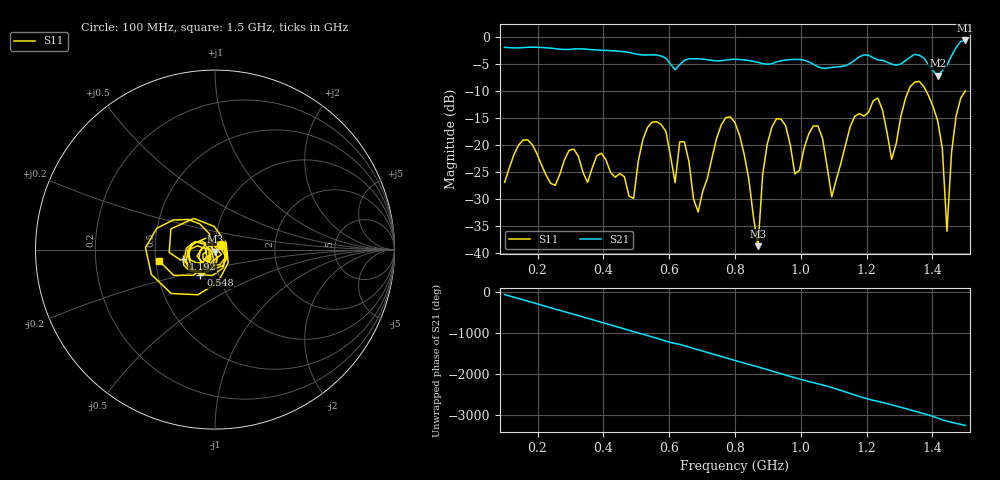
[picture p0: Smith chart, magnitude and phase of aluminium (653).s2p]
! NanoVNA-App
! Date: 2025-09-25 15:00:21
! Start: 100MHz Stop: 1,5GHz Points: 101
! S-Parameter data: F S11 S21 S12 S22
# Hz S RI R 50
!  Frequency  S11_Real  S11_Imag  S21_Real  S21_Imag  S12_Real  S12_Imag  S22_Real  S22_Imag
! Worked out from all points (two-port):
!   101 points, 100 MHz to 1.5 GHz, reference 50 ohm
!   highest |S21| = -0.65 dB at 1.5 GHz (marker M1); lowest = -7.2 dB at 1.416 GHz (marker M2)
!   |S21| within 3 dB of the highest: start of sweep to 580 MHz; 1.457 GHz to end of sweep (the widest 2 of 4)
!   lowest |S11| = -38.8 dB at 870 MHz (marker M3), VSWR 1.02, Z = 50.2 - j1.13 ohm
!   |S11| at or under -10 dB: start of sweep to 1.327 GHz; 1.381 GHz to 1.5 GHz (119.4 MHz wide, 8.29 % of centre)
!   S12 and S22 are empty: the file has one direction only
!   S11 on the Smith chart (normalised r, x): 100 MHz: 1.07, +0.06; 548 MHz: 0.82, -0.24; 1.192 GHz: 0.70, -0.08; 1.5 GHz: 0.52, -0.07
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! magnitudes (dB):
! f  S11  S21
! 100 MHz  -27.0  -1.9
! 156 MHz  -19.1  -2.0
! 338 MHz  -25.1  -2.2
! 492 MHz  -29.9  -3.1
! 548 MHz  -15.8  -3.3
! 576 MHz  -16.3  -3.5
! 646 MHz  -19.4  -4.3
! 688 MHz  -32.5  -4.1
! 800 MHz  -15.9  -4.1
! 870 MHz  -38.8  -4.7
! 912 MHz  -16.7  -5.0
! 982 MHz  -25.4  -4.2
! 1.038 GHz  -16.5  -5.0
! 1.094 GHz  -29.7  -5.6
! 1.192 GHz  -14.7  -3.3
! 1.234 GHz  -11.3  -4.3
! 1.276 GHz  -22.7  -5.0
! 1.346 GHz  -8.4  -3.2
! 1.416 GHz  -15.6  -7.2
! 1.444 GHz  -36.0  -5.3
! 1.472 GHz  -14.6  -2.0
! 1.5 GHz  -10.0  -0.7
